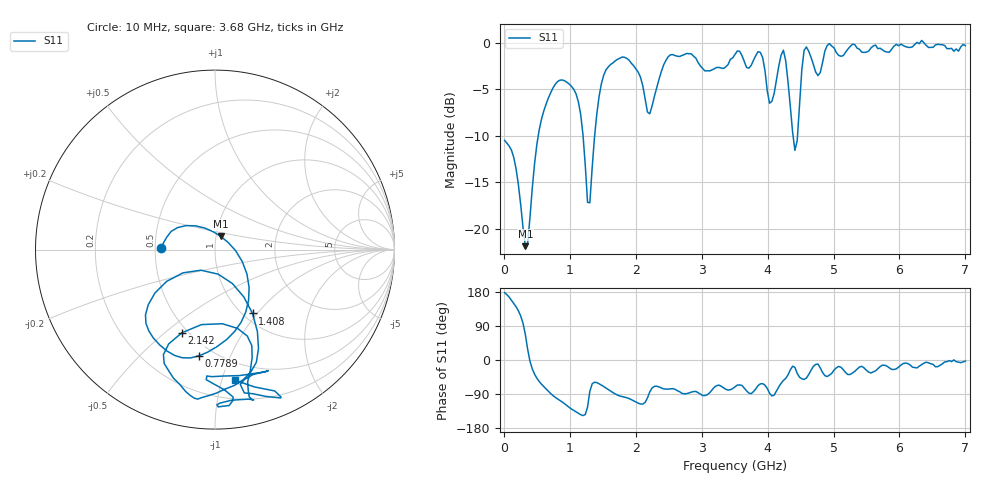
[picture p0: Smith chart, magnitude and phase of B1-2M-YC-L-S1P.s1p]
!File created by NanoVNA
# Hz S RI R 50
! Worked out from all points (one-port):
!   201 points, 10 MHz to 7 GHz, reference 50 ohm
!   lowest |S11| = -21.9 dB at 324.6 MHz (marker M1), VSWR 1.18, Z = 52.6 + j7.88 ohm
!   |S11| at or under -10 dB: start of sweep to 520.3 MHz; 1.2 GHz to 1.376 GHz (175.8 MHz wide, 13.7 % of centre); 4.386 GHz to 4.453 GHz (67.49 MHz wide, 1.53 % of centre)
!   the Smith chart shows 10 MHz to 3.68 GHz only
!   S11 on the Smith chart (normalised r, x): 10 MHz: 0.54, +0.01; 778.9 MHz: 0.42, -0.77; 1.408 GHz: 1.10, -0.95; 2.142 GHz: 0.46, -0.57; 3.68 GHz: 0.35, -1.11
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1e7  -0.2986 0.0114
3.2455e8  0.0311 0.0744
7.789e8  -0.0899 -0.5922
8.8375e8  -0.2234 -0.5903
1.1284e9  -0.3718 -0.307
1.2682e9  -0.078 -0.1148
1.408e9  0.2091 -0.3555
1.7575e9  -0.0715 -0.8237
2.14195e9  -0.1845 -0.4635
2.3167e9  0.2051 -0.5352
2.63125e9  0.1306 -0.8365
3.05065e9  -0.0456 -0.704
3.505e9  0.2831 -0.8181
3.67975e9  0.1129 -0.7283
3.88945e9  0.403 -0.7914
4.09915e9  -0.0253 -0.5337
4.23895e9  0.5368 -0.7375
4.37875e9  0.3177 -0.0936
4.5535e9  0.5719 -0.7096
4.7632e9  0.6548 -0.1233
4.903e9  0.6991 -0.667
5.07775e9  0.8184 -0.2495
5.2525e9  0.7518 -0.59
5.42725e9  0.8538 -0.2556
5.56705e9  0.7757 -0.5271
6.12625e9  0.9336 -0.1527
6.26605e9  0.9385 -0.3584
7e9  0.9652 -0.0445
